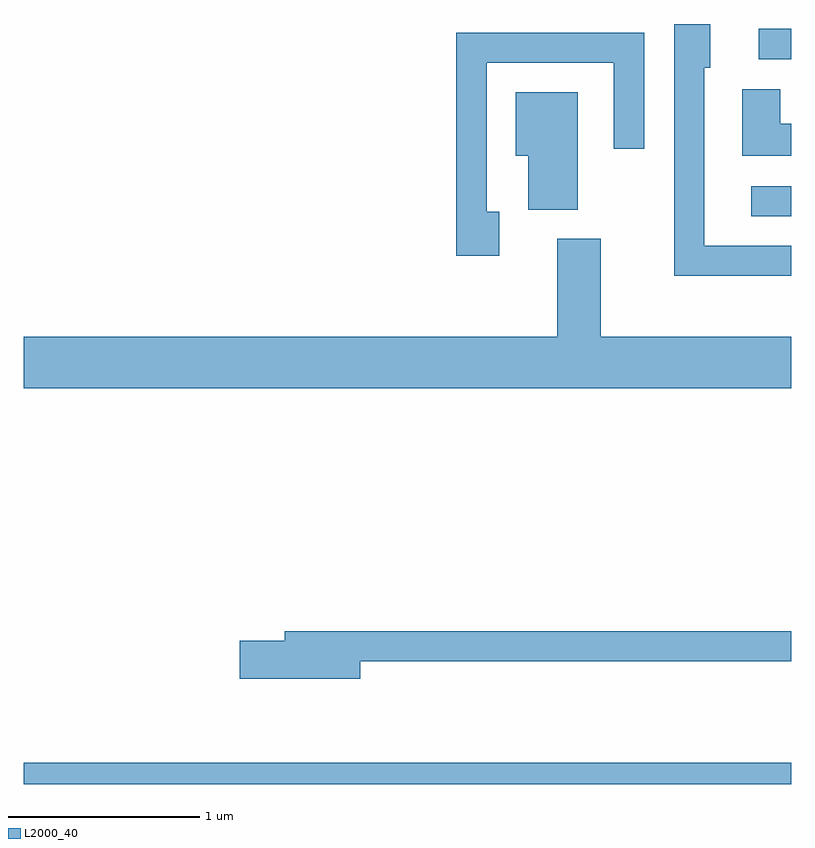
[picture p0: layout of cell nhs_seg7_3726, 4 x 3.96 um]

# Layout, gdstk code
import gdstk
lib = gdstk.Library(unit=1e-6, precision=1e-09)
def R(c, l, rs):  # rectangles x0, y0, x1, y1
    for r in rs: c.add(gdstk.rectangle(r[:2], r[2:], *l))
def P(c, l, *ps):  # polygons
    for p in ps: c.add(gdstk.Polygon(p, *l))
L2000_40 = (2000, 40)

nhs_seg7_3726 = lib.new_cell('nhs_seg7_3726')
R(nhs_seg7_3726, L2000_40, [(299.611,1712.252,303.611,1712.364), (303.403,1715.211,303.611,1715.369), (303.443,1716.031,303.611,1716.189)])
P(nhs_seg7_3726, L2000_40, [(303.611,1715.059),(303.159,1715.059),(303.159,1715.986),(303.189,1715.986),(303.189,1716.214),(303.001,1716.214),(303.001,1714.901),(303.611,1714.901)],
  [(302.089,1715.234),(302.024,1715.234),(302.024,1716.011),(302.686,1716.011),(302.686,1715.563),(302.844,1715.563),(302.844,1716.169),(301.866,1716.169),(301.866,1715.006),(302.089,1715.006)],
  [(303.611,1715.694),(303.554,1715.694),(303.554,1715.874),(303.356,1715.874),(303.356,1715.526),(303.611,1715.526)],
  [(302.499,1715.859),(302.176,1715.859),(302.176,1715.526),(302.241,1715.526),(302.241,1715.246),(302.499,1715.246)],
  [(303.611,1714.584),(302.619,1714.584),(302.619,1715.094),(302.391,1715.094),(302.391,1714.584),(299.611,1714.584),(299.611,1714.316),(303.611,1714.316)],
  [(301.364,1712.891),(303.611,1712.891),(303.611,1713.049),(300.971,1713.049),(300.971,1712.999),(300.736,1712.999),(300.736,1712.801),(301.364,1712.801)])

lib.write_gds('nhs_seg7_3726.gds')
